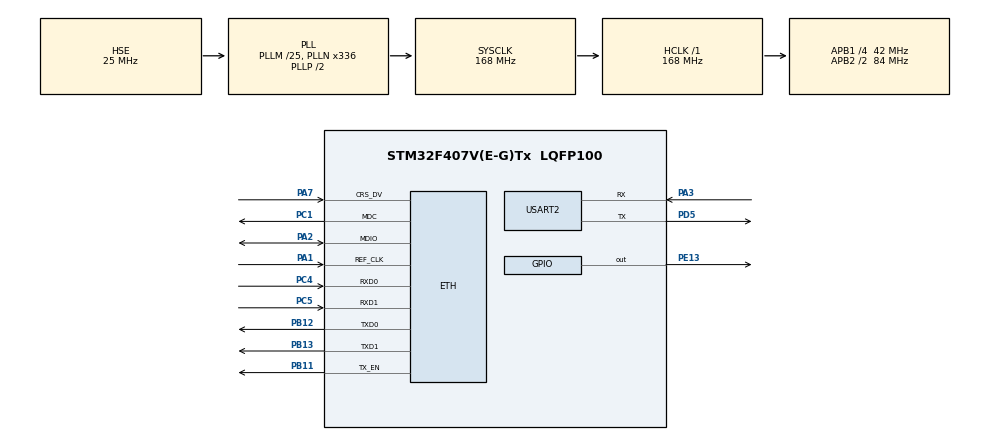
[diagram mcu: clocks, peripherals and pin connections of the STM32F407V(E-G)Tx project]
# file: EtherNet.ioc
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ETH.MediaInterface=HAL_ETH_RMII_MODE
ETH.RxMode=ETH_RXINTERRUPT_MODE
FREERTOS.Tasks01=defaultTask,24,3000,StartDefaultTask,Default,NULL,Dynamic,NULL,NULL
FREERTOS.configENABLE_FPU=1
FREERTOS.configMINIMAL_STACK_SIZE=512
LWIP.BSP.number=1
LWIP.IP_ADDRESS=192.168.010.252
LWIP.LWIP_DHCP=0
LWIP.LWIP_TIMERS_CUSTOM=0
LWIP.MEMP_NUM_TCP_SEG=17
LWIP.NETMASK_ADDRESS=255.255.255.000
LWIP.TCP_MSS=1400
LWIP.TCP_SNDQUEUELOWAT=12
LWIP.TCP_SND_BUF=5600
LWIP.TCP_SND_QUEUELEN=16
LWIP.Version=v2.1.2_Cube
LWIP0.BSP.STBoard=false
LWIP0.BSP.api=BSP_COMPONENT_DRIVER
LWIP0.BSP.component=DP83848
LWIP0.BSP.instance=DP83848
LWIP0.BSP.name=Driver_PHY
LWIP0.BSP.semaphore=S_DP83848
LWIP0.BSP.solution=DP83848
Mcu.Family=STM32F4
Mcu.Name=STM32F407V(E-G)Tx
Mcu.Package=LQFP100
NVIC.ETH_IRQn=true\:5\:0\:true\:false\:true\:true\:false\:true\:true
NVIC.PriorityGroup=NVIC_PRIORITYGROUP_4
NVIC.TIM1_UP_TIM10_IRQn=true\:15\:0\:false\:false\:true\:false\:false\:true\:true
NVIC.TimeBase=TIM1_UP_TIM10_IRQn
NVIC.TimeBaseIP=TIM1
NVIC.USART2_IRQn=true\:5\:0\:false\:false\:true\:true\:true\:true\:true
PA1.Mode=RMII
PA1.Signal=ETH_REF_CLK
PA13.Mode=Serial_Wire
PA13.Signal=SYS_JTMS-SWDIO
PA14.Mode=Serial_Wire
PA14.Signal=SYS_JTCK-SWCLK
PA2.Mode=RMII
PA2.Signal=ETH_MDIO
PA3.Mode=Asynchronous
PA3.Signal=USART2_RX
PA7.Mode=RMII
PA7.Signal=ETH_CRS_DV
PB11.Mode=RMII
PB11.Signal=ETH_TX_EN
PB12.Mode=RMII
PB12.Signal=ETH_TXD0
PB13.Mode=RMII
PB13.Signal=ETH_TXD1
PC1.Mode=RMII
PC1.Signal=ETH_MDC
PC4.Mode=RMII
PC4.Signal=ETH_RXD0
PC5.Mode=RMII
PC5.Signal=ETH_RXD1
PD5.Mode=Asynchronous
PD5.Signal=USART2_TX
PE13.GPIO_Speed=GPIO_SPEED_FREQ_MEDIUM
PE13.PinState=GPIO_PIN_SET
PE13.Signal=GPIO_Output
PH0-OSC_IN.Mode=HSE-External-Oscillator
PH0-OSC_IN.Signal=RCC_OSC_IN
PH1-OSC_OUT.Mode=HSE-External-Oscillator
PH1-OSC_OUT.Signal=RCC_OSC_OUT
ProjectManager.HeapSize=0x200
ProjectManager.StackSize=0x400
ProjectManager.TargetToolchain=CMake
RCC.48MHZClocksFreq_Value=84000000
RCC.AHBFreq_Value=168000000
RCC.APB1CLKDivider=RCC_HCLK_DIV4
RCC.APB1Freq_Value=42000000
RCC.APB1TimFreq_Value=84000000
RCC.APB2CLKDivider=RCC_HCLK_DIV2
RCC.APB2Freq_Value=84000000
RCC.APB2TimFreq_Value=168000000
RCC.CortexFreq_Value=168000000
RCC.HCLKFreq_Value=168000000
RCC.HSE_VALUE=25000000
RCC.HSI_VALUE=16000000
RCC.LSE_VALUE=32768
RCC.PLLM=25
RCC.PLLN=336
RCC.PLLSourceVirtual=RCC_PLLSOURCE_HSE
RCC.SYSCLKFreq_VALUE=168000000
RCC.SYSCLKSource=RCC_SYSCLKSOURCE_PLLCLK
RCC.VCOOutputFreq_Value=336000000
USART2.VirtualMode=VM_ASYNC
VP_FREERTOS_VS_CMSIS_V2.Mode=CMSIS_V2
VP_LWIP_VS_Enabled.Mode=Enabled
VP_SYS_VS_tim1.Mode=TIM1
board=custom

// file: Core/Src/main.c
/* USER CODE BEGIN Header */
/**
  ******************************************************************************
  * @file           : main.c
  * @brief          : Main program body
  ******************************************************************************
  * @attention
  *
  * Copyright (c) 2024 STMicroelectronics.
  * All rights reserved.
  *
  * This software is licensed under terms that can be found in the LICENSE file
  * in the root directory of this software component.
  * If no LICENSE file comes with this software, it is provided AS-IS.
  *
  ******************************************************************************
  */
/* USER CODE END Header */
#include "main.h"
#include "cmsis_os.h"
#include "lwip.h"
#include "usart.h"
#include "gpio.h"

void SystemClock_Config(void);
void MX_FREERTOS_Init(void);
/* USER CODE BEGIN PFP */
int _write(int fd, char *ptr, int len)
{
  HAL_UART_Transmit_IT(&huart2, (uint8_t*)ptr, len);
  return len;
}
/* USER CODE END PFP */

int main(void)
{

  /* MCU Configuration--------------------------------------------------------*/

  /* Reset of all peripherals, Initializes the Flash interface and the Systick. */
  HAL_Init();

  /* Configure the system clock */
  SystemClock_Config();

  /* USER CODE BEGIN SysInit */
  HAL_Delay(2000); // 等待以太网phy上电
  /* USER CODE END SysInit */

  /* Initialize all configured peripherals */
  MX_GPIO_Init();
  MX_USART2_UART_Init();

  /* Init scheduler */
  osKernelInitialize();

  /* Call init function for freertos objects (in cmsis_os2.c) */
  MX_FREERTOS_Init();

  /* Start scheduler */
  osKernelStart();

  /* We should never get here as control is now taken by the scheduler */

  /* Infinite loop */
  while (1)
  {

  }
}

void SystemClock_Config(void)
{
  RCC_OscInitTypeDef RCC_OscInitStruct = {0};
  RCC_ClkInitTypeDef RCC_ClkInitStruct = {0};

  /** Configure the main internal regulator output voltage
  */
  __HAL_RCC_PWR_CLK_ENABLE();
  __HAL_PWR_VOLTAGESCALING_CONFIG(PWR_REGULATOR_VOLTAGE_SCALE1);

  /** Initializes the RCC Oscillators according to the specified parameters
  * in the RCC_OscInitTypeDef structure.
  */
  RCC_OscInitStruct.OscillatorType = RCC_OSCILLATORTYPE_HSE;
  RCC_OscInitStruct.HSEState = RCC_HSE_ON;
  RCC_OscInitStruct.PLL.PLLState = RCC_PLL_ON;
  RCC_OscInitStruct.PLL.PLLSource = RCC_PLLSOURCE_HSE;
  RCC_OscInitStruct.PLL.PLLM = 25;
  RCC_OscInitStruct.PLL.PLLN = 336;
  RCC_OscInitStruct.PLL.PLLP = RCC_PLLP_DIV2;
  RCC_OscInitStruct.PLL.PLLQ = 4;
  if (HAL_RCC_OscConfig(&RCC_OscInitStruct) != HAL_OK)
  {
    Error_Handler();
  }

  /** Initializes the CPU, AHB and APB buses clocks
  */
  RCC_ClkInitStruct.ClockType = RCC_CLOCKTYPE_HCLK|RCC_CLOCKTYPE_SYSCLK
                              |RCC_CLOCKTYPE_PCLK1|RCC_CLOCKTYPE_PCLK2;
  RCC_ClkInitStruct.SYSCLKSource = RCC_SYSCLKSOURCE_PLLCLK;
  RCC_ClkInitStruct.AHBCLKDivider = RCC_SYSCLK_DIV1;
  RCC_ClkInitStruct.APB1CLKDivider = RCC_HCLK_DIV4;
  RCC_ClkInitStruct.APB2CLKDivider = RCC_HCLK_DIV2;

  if (HAL_RCC_ClockConfig(&RCC_ClkInitStruct, FLASH_LATENCY_5) != HAL_OK)
  {
    Error_Handler();
  }
}

void HAL_TIM_PeriodElapsedCallback(TIM_HandleTypeDef *htim)
{
  if (htim->Instance == TIM1) {
    HAL_IncTick();
  }
}

void Error_Handler(void)
{
  /* USER CODE BEGIN Error_Handler_Debug */
  /* User can add his own implementation to report the HAL error return state */
  __disable_irq();
  while (1)
  {
    osDelay(100);
    printf("[ERROR] Program not Runing Correctly\n");
  }
  /* USER CODE END Error_Handler_Debug */
}

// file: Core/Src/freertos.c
/* USER CODE BEGIN Header */
/**
  ******************************************************************************
  * File Name          : freertos.c
  * Description        : Code for freertos applications
  ******************************************************************************
  * @attention
  *
  * Copyright (c) 2024 STMicroelectronics.
  * All rights reserved.
  *
  * This software is licensed under terms that can be found in the LICENSE file
  * in the root directory of this software component.
  * If no LICENSE file comes with this software, it is provided AS-IS.
  *
  ******************************************************************************
  */
/* USER CODE END Header */

#include "FreeRTOS.h"
#include "task.h"
#include "main.h"
#include "cmsis_os.h"

/* USER CODE BEGIN Includes */
#include <rcl/rcl.h>
#include <rcl/error_handling.h>
#include <rclc/rclc.h>
#include <rclc/executor.h>
#include <uxr/client/transport.h>
#include <rmw_microxrcedds_c/config.h>
#include <rmw_microros/rmw_microros.h>

#include <micro_ros_utilities/type_utilities.h>
#include <micro_ros_utilities/string_utilities.h>
#include <std_msgs/msg/int32.h>
#include <sensor_msgs/msg/imu.h>
#include "color.h"
#include "time.h"
/* USER CODE END Includes */

/* USER CODE BEGIN PD */
bool cubemx_transport_open(struct uxrCustomTransport * transport);
bool cubemx_transport_close(struct uxrCustomTransport * transport);
size_t cubemx_transport_write(struct uxrCustomTransport* transport, const uint8_t * buf, size_t len, uint8_t * err);
size_t cubemx_transport_read(struct uxrCustomTransport* transport, uint8_t* buf, size_t len, int timeout, uint8_t* err);

void * microros_allocate(size_t size, void * state);
void microros_deallocate(void * pointer, void * state);
void * microros_reallocate(void * pointer, size_t size, void * state);
void * microros_zero_allocate(size_t number_of_elements, size_t size_of_element, void * state);
/* USER CODE END PD */

/* Definitions for defaultTask */
osThreadId_t defaultTaskHandle;
const osThreadAttr_t defaultTask_attributes = {
  .name = "defaultTask",
  .stack_size = 3000 * 4,
  .priority = (osPriority_t) osPriorityNormal,
};

/* USER CODE BEGIN FunctionPrototypes */
#define RCSOFTCHECK(fn)                                                                    \
    {                                                                                      \
        rcl_ret_t temp_rc = fn;                                                            \
        if ((temp_rc != RCL_RET_OK))                                                       \
        {                                                                                  \
            printf("[ERROR] Failed status on line %d: %d. Continuing.\n", __LINE__, (int)temp_rc); \
        }                                                                                  \
    }

/* USER CODE END FunctionPrototypes */

void StartDefaultTask(void *argument);

extern void MX_LWIP_Init(void);
void MX_FREERTOS_Init(void); /* (MISRA C 2004 rule 8.1) */

void MX_FREERTOS_Init(void) {

  /* Create the thread(s) */
  /* creation of defaultTask */
  defaultTaskHandle = osThreadNew(StartDefaultTask, NULL, &defaultTask_attributes);

}

void StartDefaultTask(void *argument)
{
  /* init code for LWIP */
  MX_LWIP_Init();
  /* USER CODE BEGIN StartDefaultTask */

  /* Infinite loop */

  RCSOFTCHECK(rmw_uros_set_custom_transport(
    false,              //Framing disable here. Udp should Use Packet-oriented mode.
    "192.168.10.121",    //your Agent's ip address
    cubemx_transport_open,
    cubemx_transport_close,
    cubemx_transport_write,
    cubemx_transport_read));

  rcl_allocator_t freeRTOS_allocator = rcutils_get_zero_initialized_allocator();
  freeRTOS_allocator.allocate = microros_allocate;
  freeRTOS_allocator.deallocate = microros_deallocate;
  freeRTOS_allocator.reallocate = microros_reallocate;
  freeRTOS_allocator.zero_allocate =  microros_zero_allocate;

  if (!rcutils_set_default_allocator(&freeRTOS_allocator)) {
      printf(L_RED"[Error] on default allocators (line %d)\n" NONE, __LINE__);
  }

  // micro-ROS app

  rcl_publisher_t publisher;
  std_msgs__msg__Int32 msg;
  sensor_msgs__msg__Imu imu_msg;
  rclc_support_t support;
  rcl_allocator_t allocator;
  rcl_node_t node;

  allocator = rcl_get_default_allocator();

  // message memory request
  // For Any Message Types that have frameID or indefinite array
  micro_ros_utilities_memory_conf_t conf = {0};
  micro_ros_utilities_memory_rule_t rule[] =
        {
            {"header.frame_id", 15}
        };

  conf.rules = rule;
  conf.n_rules = sizeof(rule) / sizeof(rule[0]);
  if (!micro_ros_utilities_create_message_memory(ROSIDL_GET_MSG_TYPE_SUPPORT(sensor_msgs, msg, Imu),&imu_msg, conf))
  {
      printf("[ERROR] IMU Message Memory Request Failed");
  }

  //create init_options

  printf("[INFO] Ready To Initlize MicroROS... \n");
  HAL_GPIO_WritePin(GPIOE, GPIO_PIN_13, GPIO_PIN_RESET);
  rcl_ret_t ret;
   do{
        ret =  rclc_support_init(&support, 0, NULL, &allocator);
        osDelay(1000);
    } while (ret != RCL_RET_OK);
  if (ret == RCL_RET_OK)
  {
  }

  // create node
  rclc_node_init_default(&node, "cubemx_node", "", &support);

  // create publisher
  rclc_publisher_init_default(
    &publisher,
    &node,
    ROSIDL_GET_MSG_TYPE_SUPPORT(sensor_msgs, msg, Imu),
    "cubemx_publisher");

  struct timespec tim;
  clock_gettime(CLOCK_REALTIME, &tim);
  msg.data = 0;
  imu_msg.header.frame_id = micro_ros_string_utilities_set(imu_msg.header.frame_id, "imu_frame");
  imu_msg.header.stamp.sec = tim.tv_sec;
  imu_msg.header.stamp.nanosec = tim.tv_nsec;

  for(;;)
  {
    rcl_ret_t ret = rcl_publish(&publisher, &msg, NULL);
    if (ret != RCL_RET_OK)
    {
      printf(L_RED"[Error] publishing (line %d)\n" NONE, __LINE__);
    }

    msg.data++;
    osDelay(1);
    HAL_GPIO_TogglePin(GPIOE, GPIO_PIN_13);
  }
  /* USER CODE END StartDefaultTask */
}
